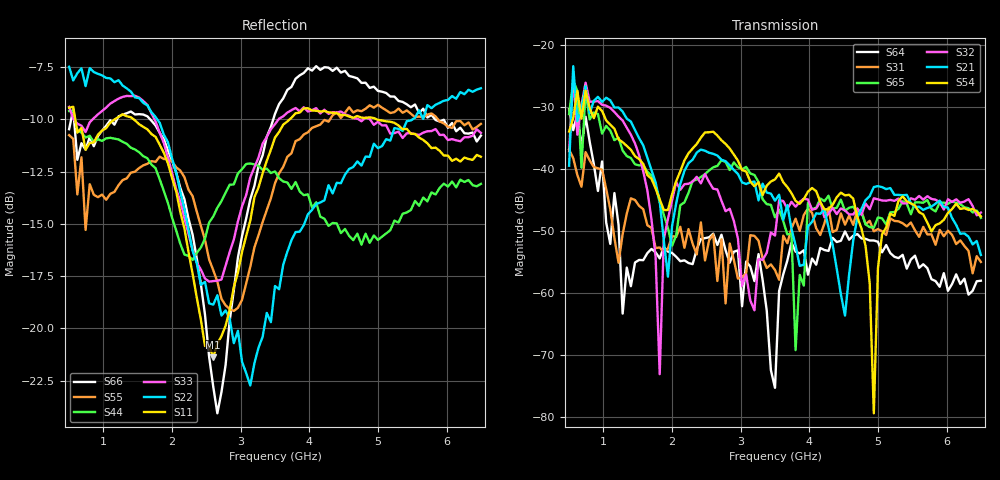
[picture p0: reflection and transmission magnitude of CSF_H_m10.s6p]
!Keysight Technologies,M9804A,MY58100912,A.14.10.03
!Date: Thursday, April 27, 2023 10:28:33
!Correction: S11(C  6-Port  )
!S12(C  6-Port  )
!S13(C  6-Port  )
!S14(C  6-Port  )
!S15(C  6-Port  )
!S16(C  6-Port  )
!S21(C  6-Port  )
!S22(C  6-Port  )
!S23(C  6-Port  )
!S24(C  6-Port  )
!S25(C  6-Port  )
!S26(C  6-Port  )
!S31(C  6-Port  )
!S32(C  6-Port  )
!S33(C  6-Port  )
!S34(C  6-Port  )
!S35(C  6-Port  )
!S36(C  6-Port  )
!S41(C  6-Port  )
!S42(C  6-Port  )
!S43(C  6-Port  )
!S44(C  6-Port  )
!S45(C  6-Port  )
!S46(C  6-Port  )
!S51(C  6-Port  )
!S52(C  6-Port  )
!S53(C  6-Port  )
!S54(C  6-Port  )
!S55(C  6-Port  )
!S56(C  6-Port  )
!S61(C  6-Port  )
!S62(C  6-Port  )
!S63(C  6-Port  )
!S64(C  6-Port  )
!S65(C  6-Port  )
!S66(C  6-Port  )
!S6P File: Measurement: :
# Hz S  RI  R 50
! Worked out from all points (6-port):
!   101 points, 500 MHz to 6.5 GHz, reference 50 ohm
!   strongest paths, dB at 500 MHz, 2 GHz, 3.5 GHz, 5 GHz, 6.5 GHz:
!     S54: -33.9, -44.1, -41.7, -56.0, -47.6
!     S21: -39.5, -49.2, -45.1, -42.8, -53.9
!     S32: -37.1, -45.1, -50.7, -44.9, -47.0
!     S65: -31.1, -52.4, -47.8, -47.8, -47.9
!     S31: -36.9, -50.8, -56.3, -49.7, -55.0
!     S64: -30.4, -53.5, -75.3, -51.7, -58.0
!   lowest |S11| = -21.4 dB at 2.6 GHz (marker M1), VSWR 1.19, Z = 42.4 + j2.19 ohm
!   |S11| at or under -10 dB: 589 MHz to 1.167 GHz (578.4 MHz wide, 65.9 % of centre); 1.439 GHz to 3.716 GHz (2.277 GHz wide, 88.3 % of centre); 4.98 GHz to end of sweep
